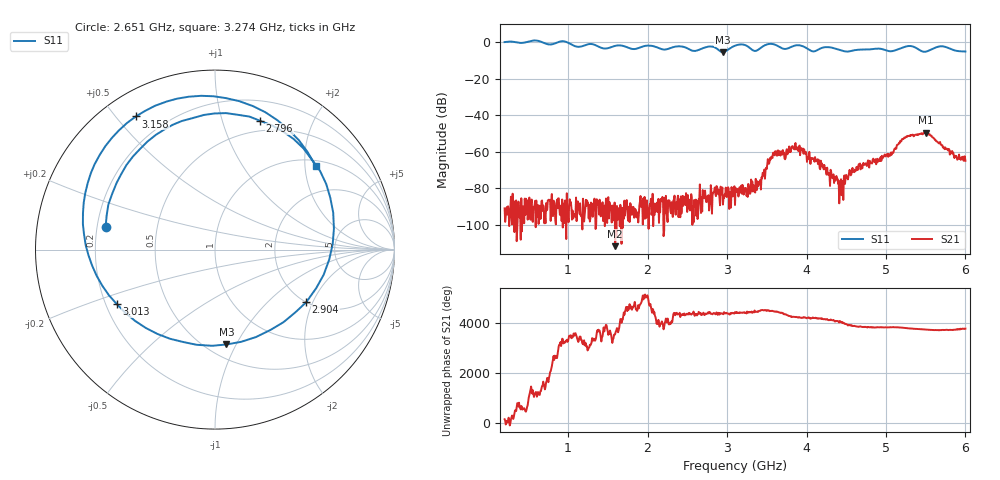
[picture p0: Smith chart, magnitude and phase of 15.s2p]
! NanoVNA-App
! Date: 2024-06-25 16:11:11
! Start: 200MHz Stop: 6GHz Points: 801
! S-Parameter data: F S11 S21 S12 S22
# Hz S RI R 50
!  Frequency  S11_Real  S11_Imag  S21_Real  S21_Imag  S12_Real  S12_Imag  S22_Real  S22_Imag
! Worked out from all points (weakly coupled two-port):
!   801 points, 200 MHz to 6 GHz, reference 50 ohm
!   highest |S21| = -49.65 dB at 5.507 GHz (marker M1); lowest = -111.8 dB at 1.592 GHz (marker M2)
!   lowest |S11| = -5.5 dB at 2.948 GHz (marker M3), VSWR 3.28, Z = 31 - j45.7 ohm
!   |S11| at or under -10 dB: nowhere
!   S12 and S22 are empty: the file has one direction only
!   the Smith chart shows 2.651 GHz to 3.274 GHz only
!   S11 on the Smith chart (normalised r, x): 2.651 GHz: 0.23, +0.10; 2.796 GHz: 0.39, +1.33; 2.904 GHz: 2.00, -1.79; 3.013 GHz: 0.24, -0.24; 3.158 GHz: 0.10, +0.56; 3.274 GHz: 1.15, +2.28
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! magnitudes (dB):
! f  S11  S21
! 200 MHz  0.0  -91.1
! 1.171 GHz  -2.3  -95.9
! 1.592 GHz  -2.0  -111.8
! 2.136 GHz  -3.1  -85.9
! 2.651 GHz  -4.1  -86.4
! 2.796 GHz  -2.4  -78.4
! 2.904 GHz  -4.6  -85.5
! 2.948 GHz  -5.5  -89.0
! 3.013 GHz  -4.1  -79.5
! 3.1 GHz  -1.9  -89.3
! 3.158 GHz  -1.3  -79.5
! 3.274 GHz  -2.7  -79.0
! 3.397 GHz  -4.0  -78.3
! 3.615 GHz  -1.6  -59.9
! 3.847 GHz  -1.9  -58.7
! 4.072 GHz  -5.0  -64.0
! 4.434 GHz  -4.5  -75.1
! 4.659 GHz  -4.1  -66.8
! 5.036 GHz  -4.9  -61.3
! 5.231 GHz  -2.7  -52.3
! 5.507 GHz  -5.2  -49.6
! 6 GHz  -5.1  -65.0
